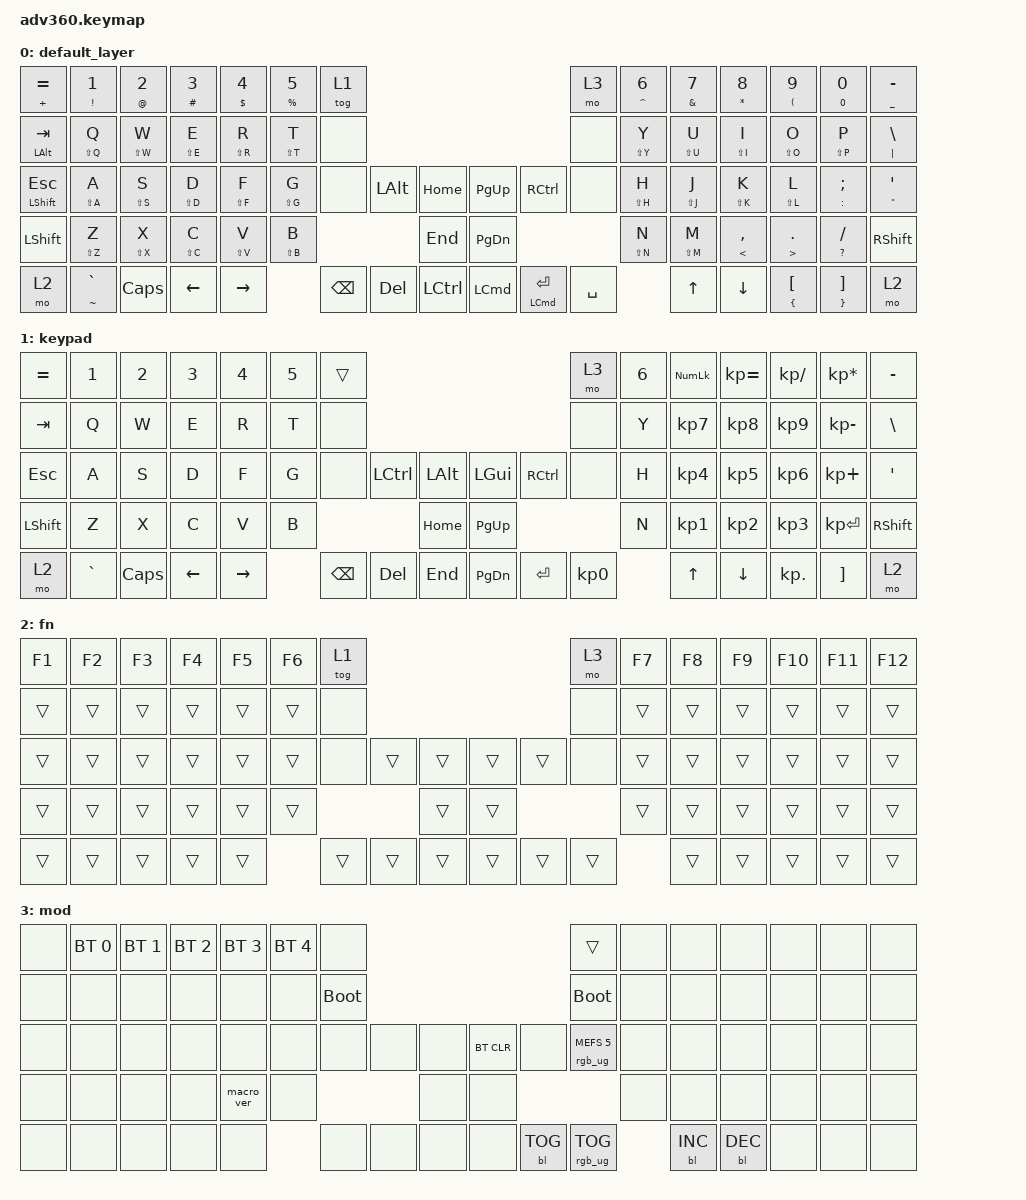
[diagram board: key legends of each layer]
#include <behaviors.dtsi>
#include <dt-bindings/zmk/backlight.h>
#include <dt-bindings/zmk/bt.h>
#include <dt-bindings/zmk/keys.h>
#include <dt-bindings/zmk/rgb.h>

/ {
    behaviors {
        #include "macros.dtsi"
      #include "version.dtsi"
      #ifndef VERSION_MACRO

        macro_ver: macro_ver {
            compatible = "zmk,behavior-macro";
            label = "macro_version";
            #binding-cells = <0>;
            bindings = <&kp RET>;
        };

        #endif

        hm: homerow_mods {
            compatible = "zmk,behavior-hold-tap";
            label = "HOMEROW_MODS";
            #binding-cells = <2>;
            tapping-term-ms = <200>;
            quick_tap_ms = <175>;
            flavor = "tap-preferred";
            bindings = <&kp>, <&kp>;
        };
    };

    macros {
    };

    keymap {
        compatible = "zmk,keymap";

        default_layer {
            bindings = <
&hm PLUS EQUAL      &hm EXCLAMATION N1  &hm AT_SIGN N2  &hm HASH N3  &hm DOLLAR N4  &hm PERCENT N5  &tog 1                                                                           &mo 3      &hm CARET N6  &hm AMPERSAND N7  &hm ASTERISK N8      &hm LEFT_PARENTHESIS N9  &hm N0 N0             &hm UNDERSCORE MINUS
&hm LEFT_ALT TAB    &hm LS(Q) Q         &hm LS(W) W     &hm LS(E) E  &hm LS(R) R    &hm LS(T) T     &none                                                                            &none      &hm LS(Y) Y   &hm LS(U) U       &hm LS(I) I          &hm LS(O) O              &hm LS(P) P           &hm PIPE BSLH
&hm LEFT_SHIFT ESC  &hm LS(A) A         &hm LS(S) S     &hm LS(D) D  &hm LS(F) F    &hm LS(G) G     &none     &kp LEFT_ALT  &kp HOME       &kp PAGE_UP       &kp RCTRL               &none      &hm LS(H) H   &hm LS(J) J       &hm LS(K) K          &hm LS(L) L              &hm COLON SEMI        &hm DOUBLE_QUOTES APOS
&kp LSHFT           &hm LS(Z) Z         &hm LS(X) X     &hm LS(C) C  &hm LS(V) V    &hm LS(B) B                             &kp END        &kp PAGE_DOWN                                        &hm LS(N) N   &hm LS(M) M       &hm LESS_THAN COMMA  &hm GREATER_THAN DOT     &hm QUESTION FSLH     &kp RSHFT
&mo 2               &hm TILDE GRAVE     &kp CAPS        &kp LEFT     &kp RIGHT                      &kp BSPC  &kp DEL       &kp LCTRL      &kp LEFT_COMMAND  &hm LEFT_COMMAND ENTER  &kp SPACE                &kp UP            &kp DOWN             &hm LEFT_BRACE LBKT      &hm RIGHT_BRACE RBKT  &mo 2
            >;
        };

        keypad {
            bindings = <
&kp EQUAL  &kp N1     &kp N2    &kp N3    &kp N4     &kp N5  &trans                                                   &mo 3      &kp N6  &kp KP_NUM  &kp KP_EQUAL  &kp KP_DIVIDE  &kp KP_MULTIPLY  &kp MINUS
&kp TAB    &kp Q      &kp W     &kp E     &kp R      &kp T   &none                                                    &none      &kp Y   &kp KP_N7   &kp KP_N8     &kp KP_N9      &kp KP_MINUS     &kp BSLH
&kp ESC    &kp A      &kp S     &kp D     &kp F      &kp G   &none     &kp LCTRL  &kp LALT      &kp LGUI   &kp RCTRL  &none      &kp H   &kp KP_N4   &kp KP_N5     &kp KP_N6      &kp KP_PLUS      &kp SQT
&kp LSHFT  &kp Z      &kp X     &kp C     &kp V      &kp B                        &kp HOME      &kp PG_UP                        &kp N   &kp KP_N1   &kp KP_N2     &kp KP_N3      &kp KP_ENTER     &kp RSHFT
&mo 2      &kp GRAVE  &kp CAPS  &kp LEFT  &kp RIGHT          &kp BSPC  &kp DEL    &kp END       &kp PG_DN  &kp ENTER  &kp KP_N0          &kp UP      &kp DOWN      &kp KP_DOT     &kp RBKT         &mo 2
            >;
        };

        fn {
            bindings = <
&kp F1  &kp F2  &kp F3  &kp F4  &kp F5  &kp F6  &tog 1                                      &mo 3   &kp F7  &kp F8  &kp F9  &kp F10  &kp F11  &kp F12
&trans  &trans  &trans  &trans  &trans  &trans  &none                                       &none   &trans  &trans  &trans  &trans   &trans   &trans
&trans  &trans  &trans  &trans  &trans  &trans  &none   &trans  &trans      &trans  &trans  &none   &trans  &trans  &trans  &trans   &trans   &trans
&trans  &trans  &trans  &trans  &trans  &trans                  &trans      &trans                  &trans  &trans  &trans  &trans   &trans   &trans
&trans  &trans  &trans  &trans  &trans          &trans  &trans  &trans      &trans  &trans  &trans          &trans  &trans  &trans   &trans   &trans
            >;
        };

        mod {
            bindings = <
&none  &bt BT_SEL 0  &bt BT_SEL 1  &bt BT_SEL 2  &bt BT_SEL 3  &bt BT_SEL 4  &none                                                  &trans                  &none  &none       &none       &none  &none  &none
&none  &none         &none         &none         &none         &none         &bootloader                                            &bootloader             &none  &none       &none       &none  &none  &none
&none  &none         &none         &none         &none         &none         &none        &none  &none      &bt BT_CLR  &none       &rgb_ug RGB_MEFS_CMD 5  &none  &none       &none       &none  &none  &none
&none  &none         &none         &none         &macro_ver    &none                             &none      &none                                           &none  &none       &none       &none  &none  &none
&none  &none         &none         &none         &none                       &none        &none  &none      &none       &bl BL_TOG  &rgb_ug RGB_TOG                &bl BL_INC  &bl BL_DEC  &none  &none  &none
            >;
        };
    };
};
